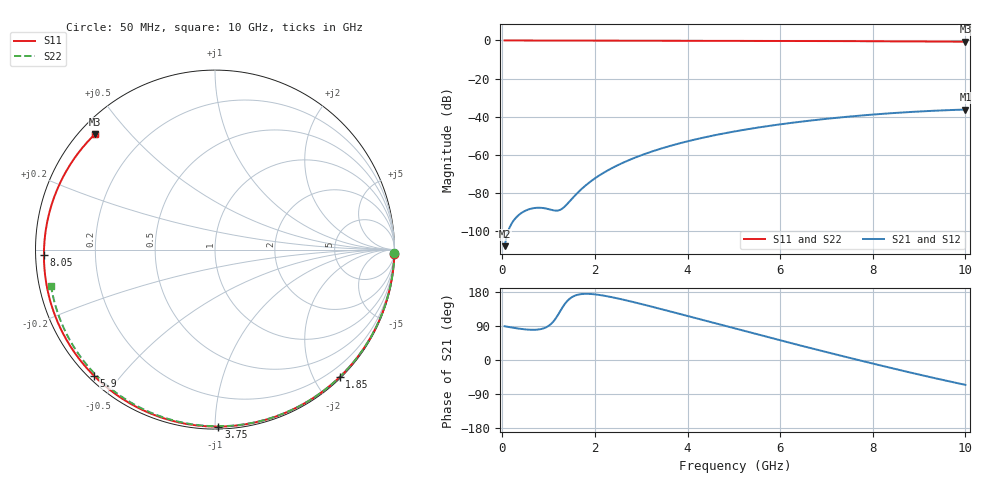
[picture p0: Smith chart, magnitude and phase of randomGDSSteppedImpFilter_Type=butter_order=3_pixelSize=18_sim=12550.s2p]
! freq	dB(S11)	phase(S11)	dB(S12)	phase(S12)
!  dB(S21)	phase(S21)	dB(S22)	phase(S22)
!S-par simulation data
#  GHz  S  DB  R 50
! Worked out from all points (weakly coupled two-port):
!   200 points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, 50 MHz to 10 GHz, reference 50 ohm
!   highest |S21| = -36.27 dB at 10 GHz (marker M1); lowest = -108.0 dB at 50 MHz (marker M2)
!   lowest |S11| = -0.7 dB at 10 GHz (marker M3), VSWR 26.73, Z = 2.18 + j20.2 ohm
!   |S11| at or under -10 dB: nowhere
!   |S22| runs from -0.6 to 0.0 dB; largest |S21 - S12| = 0
!   S11 on the Smith chart (normalised r, x): 50 MHz: 0, -90; 1.85 GHz: 0.02, -2.38; 3.75 GHz: 0.01, -1.02; 5.9 GHz: 0.02, -0.43; 8.05 GHz: 0.02, -0.02; 10 GHz: 0.04, +0.40
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0.05  -0.00 -1.3  -107.99 89.1  -107.99 89.1  -0.00 -1.0
0.8  -0.03 -20.0  -87.81 80.8  -87.81 80.8  -0.02 -15.1
1.6  -0.05 -39.6  -80.61 171.2  -80.61 171.2  -0.04 -29.9
1.65  -0.05 -40.8  -79.39 172.8  -79.39 172.8  -0.04 -30.8
1.75  -0.06 -43.2  -77.14 174.4  -77.14 174.4  -0.04 -32.7
1.85  -0.06 -45.6  -75.11 174.6  -75.11 174.6  -0.04 -34.5
2.15  -0.07 -52.7  -70.02 170.7  -70.02 170.7  -0.05 -39.9
2.5  -0.08 -60.9  -65.40 162.3  -65.40 162.3  -0.06 -46.2
2.9  -0.09 -70.1  -61.19 150.8  -61.19 150.8  -0.07 -53.2
3.4  -0.11 -81.3  -56.98 135.3  -56.98 135.3  -0.08 -61.9
3.75  -0.12 -88.9  -54.51 124.2  -54.51 124.2  -0.09 -67.9
4.4  -0.15 -102.8  -50.70 103.2  -50.70 103.2  -0.11 -78.7
5.05  -0.18 -116.4  -47.61 82.2  -47.61 82.2  -0.14 -89.2
5.9  -0.23 -133.7  -44.37 55.1  -44.37 55.1  -0.18 -102.7
6.7  -0.29 -150.0  -41.92 30.1  -41.92 30.1  -0.22 -115.0
7.4  -0.35 -164.4  -40.16 8.6  -40.16 8.6  -0.28 -125.7
8.05  -0.41 -178.2  -38.81 -10.9  -38.81 -10.9  -0.33 -135.6
8.35  -0.44 175.3  -38.27 -19.7  -38.27 -19.7  -0.36 -140.2
8.8  -0.50 165.2  -37.56 -32.8  -37.56 -32.8  -0.41 -147.3
9.2  -0.55 155.8  -37.04 -44.1  -37.04 -44.1  -0.46 -153.7
9.6  -0.60 146.1  -36.61 -55.0  -36.61 -55.0  -0.52 -160.4
10  -0.65 136.0  -36.27 -65.6  -36.27 -65.6  -0.58 -167.3
